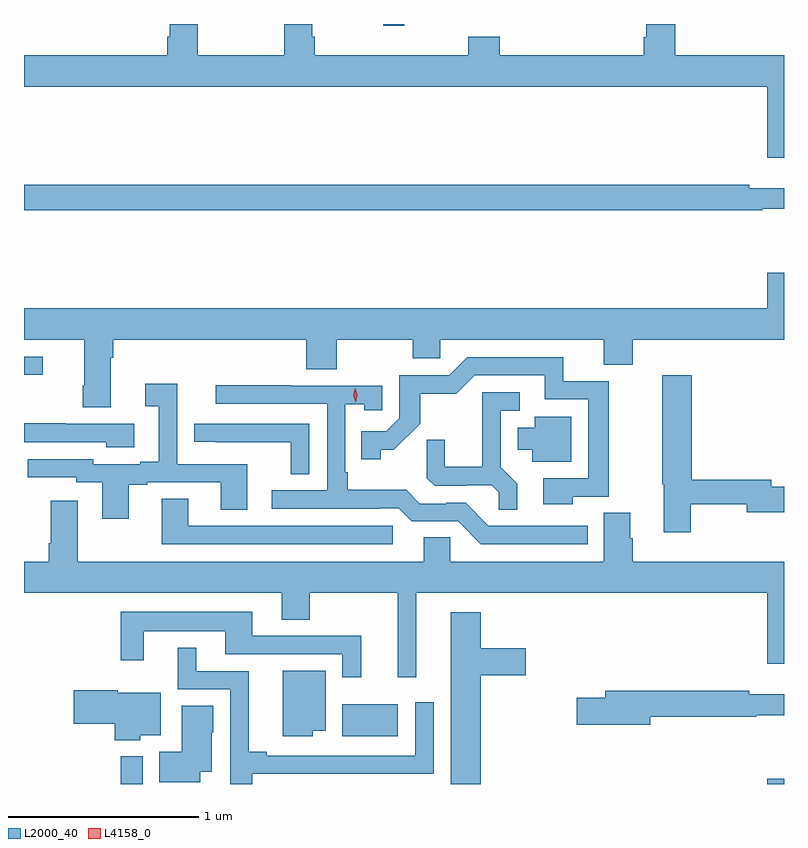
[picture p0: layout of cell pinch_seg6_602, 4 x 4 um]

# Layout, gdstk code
import gdstk
lib = gdstk.Library(unit=1e-6, precision=1e-09)
def R(c, l, rs):  # rectangles x0, y0, x1, y1
    for r in rs: c.add(gdstk.rectangle(r[:2], r[2:], *l))
def P(c, l, *ps):  # polygons
    for p in ps: c.add(gdstk.Polygon(p, *l))
L2000_40 = (2000, 40)
L4158_0 = (4158, 0)

pinch_seg6_602 = lib.new_cell('pinch_seg6_602')
R(pinch_seg6_602, L2000_40, [(437.329,963.645,437.445,963.79), (440.732,963.645,440.819,963.673), (438.494,963.896,438.787,964.066), (436.819,965.799,436.918,965.895), (438.711,967.635,438.819,967.645)])
P(pinch_seg6_602, L2000_40, [(440.819,967.48),(440.246,967.48),(440.246,967.645),(440.093,967.645),(440.093,967.576),(440.081,967.576),(440.081,967.48),(439.322,967.48),(439.322,967.579),(439.157,967.579),(439.157,967.48),(438.35,967.48),(438.35,967.578),(438.337,967.578),(438.337,967.645),(438.19,967.645),(438.19,967.48),(437.733,967.48),(437.733,967.645),(437.585,967.645),(437.585,967.578),(437.573,967.578),(437.573,967.48),(436.819,967.48),(436.819,967.316),(440.732,967.316),(440.732,966.942),(440.819,966.942)],
  [(440.704,966.672),(440.819,966.672),(440.819,966.781),(440.636,966.781),(440.636,966.8),(436.819,966.8),(436.819,966.664),(440.704,966.664)],
  [(436.819,965.984),(437.135,965.984),(437.135,965.74),(437.128,965.74),(437.128,965.628),(437.275,965.628),(437.275,965.888),(437.288,965.888),(437.288,965.984),(438.305,965.984),(438.305,965.827),(438.465,965.827),(438.465,965.984),(438.865,965.984),(438.865,965.886),(439.011,965.886),(439.011,965.984),(439.871,965.984),(439.871,965.851),(440.024,965.851),(440.024,965.984),(440.819,965.984),(440.819,966.337),(440.732,966.337),(440.732,966.148),(436.819,966.148)],
  [(439.707,965.157),(439.897,965.157),(439.897,965.766),(439.658,965.766),(439.658,965.892),(439.152,965.892),(439.056,965.796),(438.795,965.796),(438.795,965.571),(438.726,965.502),(438.595,965.502),(438.595,965.355),(438.696,965.355),(438.696,965.405),(438.766,965.405),(438.904,965.542),(438.904,965.698),(439.093,965.698),(439.191,965.796),(439.559,965.796),(439.559,965.67),(439.788,965.67),(439.788,965.253),(439.551,965.253),(439.551,965.117),(439.707,965.117)],
  [(440.328,965.118),(440.624,965.118),(440.624,965.075),(440.819,965.075),(440.819,965.21),(440.752,965.21),(440.752,965.246),(440.333,965.246),(440.333,965.797),(440.179,965.797),(440.179,965.223),(440.186,965.223),(440.186,964.971),(440.328,964.971)],
  [(437.371,965.22),(437.467,965.22),(437.467,965.232),(437.855,965.232),(437.855,965.089),(437.995,965.089),(437.995,965.328),(437.625,965.328),(437.625,965.752),(437.457,965.752),(437.457,965.632),(437.528,965.632),(437.528,965.341),(437.432,965.341),(437.432,965.328),(437.184,965.328),(437.184,965.355),(436.839,965.355),(436.839,965.259),(437.094,965.259),(437.094,965.232),(437.231,965.232),(437.231,965.04),(437.371,965.04)],
  [(439.786,965.004),(439.263,965.004),(439.143,965.124),(439.042,965.124),(439.042,965.121),(438.903,965.121),(438.83,965.194),(438.523,965.194),(438.523,965.287),(438.51,965.287),(438.51,965.645),(438.609,965.645),(438.609,965.613),(438.705,965.613),(438.705,965.742),(438.221,965.742),(438.221,965.745),(437.829,965.745),(437.829,965.646),(438.414,965.646),(438.414,965.19),(438.123,965.19),(438.123,965.094),(438.692,965.094),(438.692,965.097),(438.792,965.097),(438.861,965.028),(439.104,965.028),(439.224,964.908),(439.786,964.908)],
  [(439.415,965.225),(439.329,965.311),(439.329,965.61),(439.429,965.61),(439.429,965.706),(439.232,965.706),(439.232,965.314),(439.034,965.314),(439.034,965.457),(438.94,965.457),(438.94,965.255),(438.981,965.214),(439.146,965.214),(439.146,965.217),(439.28,965.217),(439.317,965.18),(439.317,965.089),(439.415,965.089)],
  [(439.699,965.578),(439.508,965.578),(439.508,965.521),(439.418,965.521),(439.418,965.405),(439.493,965.405),(439.493,965.342),(439.699,965.342)],
  [(437.398,965.541),(437.039,965.541),(437.039,965.544),(436.819,965.544),(436.819,965.445),(437.253,965.445),(437.253,965.417),(437.398,965.417)],
  [(438.321,965.541),(437.715,965.541),(437.715,965.446),(437.827,965.446),(437.827,965.445),(438.223,965.445),(438.223,965.275),(438.321,965.275)],
  [(438.76,965.004),(437.683,965.004),(437.683,965.147),(437.543,965.147),(437.543,964.908),(438.76,964.908)],
  [(438.884,964.652),(440.732,964.652),(440.732,964.278),(440.819,964.278),(440.819,964.816),(440.024,964.816),(440.024,964.938),(440.011,964.938),(440.011,965.072),(439.871,965.072),(439.871,964.816),(439.062,964.816),(439.062,964.943),(438.923,964.943),(438.923,964.816),(437.101,964.816),(437.101,965.137),(436.961,965.137),(436.961,964.912),(436.949,964.912),(436.949,964.816),(436.819,964.816),(436.819,964.652),(438.176,964.652),(438.176,964.51),(438.324,964.51),(438.324,964.652),(438.785,964.652),(438.785,964.206),(438.884,964.206)],
  [(438.593,964.425),(438.019,964.425),(438.019,964.552),(437.328,964.552),(437.328,964.296),(437.449,964.296),(437.449,964.448),(437.879,964.448),(437.879,964.329),(438.495,964.329),(438.495,964.206),(438.593,964.206)],
  [(439.223,964.217),(439.459,964.217),(439.459,964.359),(439.223,964.359),(439.223,964.549),(439.064,964.549),(439.064,963.645),(439.223,963.645)],
  [(438.02,963.698),(438.65,963.698),(438.65,963.699),(438.975,963.699),(438.975,964.075),(438.879,964.075),(438.879,963.795),(438.097,963.795),(438.097,963.815),(438.002,963.815),(438.002,964.239),(437.725,964.239),(437.725,964.363),(437.627,964.363),(437.627,964.143),(437.904,964.143),(437.904,963.645),(438.02,963.645)],
  [(438.34,963.926),(438.406,963.926),(438.406,964.24),(438.182,964.24),(438.182,963.896),(438.34,963.896)],
  [(437.43,963.902),(437.539,963.902),(437.539,964.126),(437.313,964.126),(437.313,964.139),(437.082,964.139),(437.082,963.961),(437.297,963.961),(437.297,963.875),(437.43,963.875)],
  [(440.116,964),(440.672,964),(440.672,964.008),(440.819,964.008),(440.819,964.117),(440.636,964.117),(440.636,964.136),(439.877,964.136),(439.877,964.1),(439.728,964.1),(439.728,963.958),(440.116,963.958)],
  [(437.746,963.71),(437.806,963.71),(437.806,963.918),(437.815,963.918),(437.815,964.058),(437.648,964.058),(437.648,963.814),(437.53,963.814),(437.53,963.653),(437.746,963.653)])
P(pinch_seg6_602, L4158_0, [(438.564,965.655),(438.564,965.655),(438.553,965.691),(438.563,965.727),(438.563,965.727),(438.563,965.727),(438.573,965.691),(438.564,965.655)])

lib.write_gds('pinch_seg6_602.gds')
